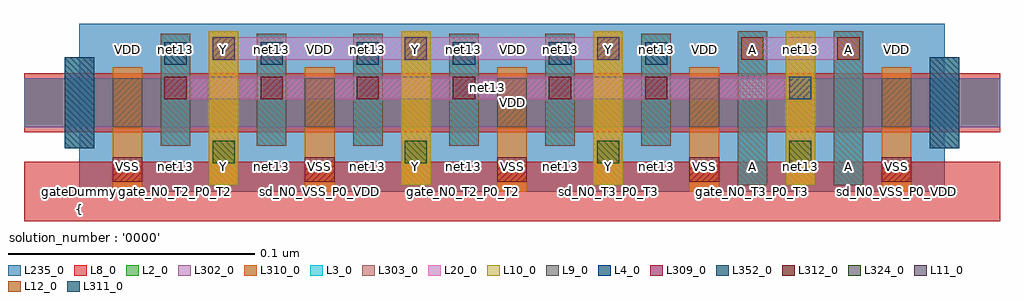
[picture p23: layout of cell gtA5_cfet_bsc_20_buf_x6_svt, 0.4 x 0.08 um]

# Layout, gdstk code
import gdstk
lib = gdstk.Library(unit=1e-6, precision=2.5e-10)
def R(c, l, rs):  # rectangles x0, y0, x1, y1
    for r in rs: c.add(gdstk.rectangle(r[:2], r[2:], *l))
def A(c, l, x, y, w, h, nx, ny, dx, dy):  # array of equal rectangles
    R(c, l, [(x+i*dx, y+j*dy, x+i*dx+w, y+j*dy+h) for i in range(nx) for j in range(ny)])
L2_0 = (2, 0)
L3_0 = (3, 0)
L4_0 = (4, 0)
L8_0 = (8, 0)
L9_0 = (9, 0)
L10_0 = (10, 0)
L11_0 = (11, 0)
L12_0 = (12, 0)
L20_0 = (20, 0)
L235_0 = (235, 0)
L302_0 = (302, 0)
L303_0 = (303, 0)
L309_0 = (309, 0)
L310_0 = (310, 0)
L311_0 = (311, 0)
L312_0 = (312, 0)
L324_0 = (324, 0)
L352_0 = (352, 0)

gta5_cfet_bsc_20_buf_x6_ = lib.new_cell('gtA5_cfet_bsc_20_buf_x6_svt')
R(gta5_cfet_bsc_20_buf_x6_, L2_0, [(-0.0225,0.026,0.3735,0.046)])
A(gta5_cfet_bsc_20_buf_x6_, L3_0, 0.033, 0.0185, 0.012, 0.0455, 6, 1, 0.039, 0)
R(gta5_cfet_bsc_20_buf_x6_, L3_0, [(0.267,0.0025,0.279,0.065), (0.306,0.0025,0.318,0.065), (-0.006,0.0175,0.006,0.0545), (0.345,0.0175,0.357,0.0545)])
R(gta5_cfet_bsc_20_buf_x6_, L4_0, [(-0.006,0.0175,0.006,0.0545), (0.345,0.0175,0.357,0.0545)])
R(gta5_cfet_bsc_20_buf_x6_, L8_0, [(-0.0225,-0.012,0.3735,0.012), (-0.0225,0.024,0.3735,0.048)])
A(gta5_cfet_bsc_20_buf_x6_, L9_0, 0.0135, 0.026, 0.012, 0.02, 5, 1, 0.078, 0)
A(gta5_cfet_bsc_20_buf_x6_, L10_0, 0.0525, 0.0025, 0.012, 0.0625, 4, 1, 0.078, 0)
A(gta5_cfet_bsc_20_buf_x6_, L11_0, 0.054, 0.0535, 0.009, 0.009, 3, 1, 0.078, 0)
R(gta5_cfet_bsc_20_buf_x6_, L12_0, [(0.2685,0.0535,0.2775,0.0625), (0.3075,0.0535,0.3165,0.0625)])
R(gta5_cfet_bsc_20_buf_x6_, L20_0, [(0.0345,0.0375,0.297,0.0465), (0.054,0.0535,0.219,0.0625), (0.2685,0.0535,0.3165,0.0625)])
R(gta5_cfet_bsc_20_buf_x6_, L235_0, [(0,0,0.351,0.068)])
R(gta5_cfet_bsc_20_buf_x6_, L302_0, [(-0.0225,0.026,0.3735,0.046)])
A(gta5_cfet_bsc_20_buf_x6_, L303_0, 0.033, 0.0185, 0.012, 0.0455, 6, 1, 0.039, 0)
R(gta5_cfet_bsc_20_buf_x6_, L303_0, [(0.267,0.0025,0.279,0.065), (0.306,0.0025,0.318,0.065), (-0.006,0.0175,0.006,0.0545), (0.345,0.0175,0.357,0.0545)])
A(gta5_cfet_bsc_20_buf_x6_, L309_0, 0.0135, 0.004, 0.012, 0.01, 5, 1, 0.078, 0)
A(gta5_cfet_bsc_20_buf_x6_, L310_0, 0.0135, 0, 0.012, 0.0505, 5, 1, 0.078, 0)
A(gta5_cfet_bsc_20_buf_x6_, L310_0, 0.0525, 0.0025, 0.012, 0.0625, 4, 1, 0.078, 0)
R(gta5_cfet_bsc_20_buf_x6_, L311_0, [(0.288,0.0375,0.297,0.0465)])
A(gta5_cfet_bsc_20_buf_x6_, L312_0, 0.0345, 0.0375, 0.009, 0.009, 6, 1, 0.039, 0)
A(gta5_cfet_bsc_20_buf_x6_, L324_0, 0.054, 0.0115, 0.009, 0.009, 4, 1, 0.078, 0)
A(gta5_cfet_bsc_20_buf_x6_, L352_0, 0.0345, 0.0515, 0.009, 0.009, 6, 1, 0.039, 0)
gta5_cfet_bsc_20_buf_x6_.add(gdstk.Label('net13', (0.1658,0.042), layer=100, texttype=100))
gta5_cfet_bsc_20_buf_x6_.add(gdstk.Label('gateDummy', (0,0), layer=103, texttype=103))
gta5_cfet_bsc_20_buf_x6_.add(gdstk.Label('sd_N0_VSS_P0_VDD', (0.0195,0), layer=103, texttype=103))
gta5_cfet_bsc_20_buf_x6_.add(gdstk.Label('gate_N0_T2_P0_T2', (0.039,0), layer=103, texttype=103))
gta5_cfet_bsc_20_buf_x6_.add(gdstk.Label('sd_N0_T3_P0_T3', (0.0585,0), layer=103, texttype=103))
gta5_cfet_bsc_20_buf_x6_.add(gdstk.Label('gate_N0_T2_P0_T2', (0.078,0), layer=103, texttype=103))
gta5_cfet_bsc_20_buf_x6_.add(gdstk.Label('sd_N0_VSS_P0_VDD', (0.0975,0), layer=103, texttype=103))
gta5_cfet_bsc_20_buf_x6_.add(gdstk.Label('gate_N0_T2_P0_T2', (0.117,0), layer=103, texttype=103))
gta5_cfet_bsc_20_buf_x6_.add(gdstk.Label('sd_N0_T3_P0_T3', (0.1365,0), layer=103, texttype=103))
gta5_cfet_bsc_20_buf_x6_.add(gdstk.Label('gate_N0_T2_P0_T2', (0.156,0), layer=103, texttype=103))
gta5_cfet_bsc_20_buf_x6_.add(gdstk.Label('sd_N0_VSS_P0_VDD', (0.1755,0), layer=103, texttype=103))
gta5_cfet_bsc_20_buf_x6_.add(gdstk.Label('gate_N0_T2_P0_T2', (0.195,0), layer=103, texttype=103))
gta5_cfet_bsc_20_buf_x6_.add(gdstk.Label('sd_N0_T3_P0_T3', (0.2145,0), layer=103, texttype=103))
gta5_cfet_bsc_20_buf_x6_.add(gdstk.Label('gate_N0_T2_P0_T2', (0.234,0), layer=103, texttype=103))
gta5_cfet_bsc_20_buf_x6_.add(gdstk.Label('sd_N0_VSS_P0_VDD', (0.2535,0), layer=103, texttype=103))
gta5_cfet_bsc_20_buf_x6_.add(gdstk.Label('gate_N0_T3_P0_T3', (0.273,0), layer=103, texttype=103))
gta5_cfet_bsc_20_buf_x6_.add(gdstk.Label('sd_N0_T2_P0_T2', (0.2925,0), layer=103, texttype=103))
gta5_cfet_bsc_20_buf_x6_.add(gdstk.Label('gate_N0_T3_P0_T3', (0.312,0), layer=103, texttype=103))
gta5_cfet_bsc_20_buf_x6_.add(gdstk.Label('sd_N0_VSS_P0_VDD', (0.3315,0), layer=103, texttype=103))
gta5_cfet_bsc_20_buf_x6_.add(gdstk.Label('gateDummy', (0.351,0), layer=103, texttype=103))
gta5_cfet_bsc_20_buf_x6_.add(gdstk.Label('}', (0,-0.0742), layer=104, texttype=104))
gta5_cfet_bsc_20_buf_x6_.add(gdstk.Label('  power : None', (0,-0.0675), layer=104, texttype=104))
gta5_cfet_bsc_20_buf_x6_.add(gdstk.Label('  performance : None', (0,-0.0607), layer=104, texttype=104))
gta5_cfet_bsc_20_buf_x6_.add(gdstk.Label("  solution_hash : '9369646757009642758'", (0,-0.054), layer=104, texttype=104))
gta5_cfet_bsc_20_buf_x6_.add(gdstk.Label('  number_m2 : 0', (0,-0.0473), layer=104, texttype=104))
gta5_cfet_bsc_20_buf_x6_.add(gdstk.Label('  number_m1 : 0', (0,-0.0405), layer=104, texttype=104))
gta5_cfet_bsc_20_buf_x6_.add(gdstk.Label('  number_m0cuts : 0', (0,-0.0338), layer=104, texttype=104))
gta5_cfet_bsc_20_buf_x6_.add(gdstk.Label('  number_m0 : 3', (0,-0.027), layer=104, texttype=104))
gta5_cfet_bsc_20_buf_x6_.add(gdstk.Label("  solution_number : '0000'", (0,-0.0203), layer=104, texttype=104))
gta5_cfet_bsc_20_buf_x6_.add(gdstk.Label("  placement_id : '4436051885917977567'", (0,-0.0135), layer=104, texttype=104))
gta5_cfet_bsc_20_buf_x6_.add(gdstk.Label('{', (0,-0.0067), layer=104, texttype=104))
gta5_cfet_bsc_20_buf_x6_.add(gdstk.Label('VSS', (0.0195,0.0103), layer=105, texttype=105))
gta5_cfet_bsc_20_buf_x6_.add(gdstk.Label('net13', (0.039,0.0103), layer=105, texttype=105))
gta5_cfet_bsc_20_buf_x6_.add(gdstk.Label('Y', (0.0585,0.0103), layer=105, texttype=105))
gta5_cfet_bsc_20_buf_x6_.add(gdstk.Label('net13', (0.078,0.0103), layer=105, texttype=105))
gta5_cfet_bsc_20_buf_x6_.add(gdstk.Label('VSS', (0.0975,0.0103), layer=105, texttype=105))
gta5_cfet_bsc_20_buf_x6_.add(gdstk.Label('net13', (0.117,0.0103), layer=105, texttype=105))
gta5_cfet_bsc_20_buf_x6_.add(gdstk.Label('Y', (0.1365,0.0103), layer=105, texttype=105))
gta5_cfet_bsc_20_buf_x6_.add(gdstk.Label('net13', (0.156,0.0103), layer=105, texttype=105))
gta5_cfet_bsc_20_buf_x6_.add(gdstk.Label('VSS', (0.1755,0.0103), layer=105, texttype=105))
gta5_cfet_bsc_20_buf_x6_.add(gdstk.Label('net13', (0.195,0.0103), layer=105, texttype=105))
gta5_cfet_bsc_20_buf_x6_.add(gdstk.Label('Y', (0.2145,0.0103), layer=105, texttype=105))
gta5_cfet_bsc_20_buf_x6_.add(gdstk.Label('net13', (0.234,0.0103), layer=105, texttype=105))
gta5_cfet_bsc_20_buf_x6_.add(gdstk.Label('VSS', (0.2535,0.0103), layer=105, texttype=105))
gta5_cfet_bsc_20_buf_x6_.add(gdstk.Label('A', (0.273,0.0103), layer=105, texttype=105))
gta5_cfet_bsc_20_buf_x6_.add(gdstk.Label('net13', (0.2925,0.0103), layer=105, texttype=105))
gta5_cfet_bsc_20_buf_x6_.add(gdstk.Label('A', (0.312,0.0103), layer=105, texttype=105))
gta5_cfet_bsc_20_buf_x6_.add(gdstk.Label('VSS', (0.3315,0.0103), layer=105, texttype=105))
gta5_cfet_bsc_20_buf_x6_.add(gdstk.Label('VDD', (0.0195,0.0578), layer=105, texttype=105))
gta5_cfet_bsc_20_buf_x6_.add(gdstk.Label('net13', (0.039,0.0578), layer=105, texttype=105))
gta5_cfet_bsc_20_buf_x6_.add(gdstk.Label('Y', (0.0585,0.0578), layer=105, texttype=105))
gta5_cfet_bsc_20_buf_x6_.add(gdstk.Label('net13', (0.078,0.0578), layer=105, texttype=105))
gta5_cfet_bsc_20_buf_x6_.add(gdstk.Label('VDD', (0.0975,0.0578), layer=105, texttype=105))
gta5_cfet_bsc_20_buf_x6_.add(gdstk.Label('net13', (0.117,0.0578), layer=105, texttype=105))
gta5_cfet_bsc_20_buf_x6_.add(gdstk.Label('Y', (0.1365,0.0578), layer=105, texttype=105))
gta5_cfet_bsc_20_buf_x6_.add(gdstk.Label('net13', (0.156,0.0578), layer=105, texttype=105))
gta5_cfet_bsc_20_buf_x6_.add(gdstk.Label('VDD', (0.1755,0.0578), layer=105, texttype=105))
gta5_cfet_bsc_20_buf_x6_.add(gdstk.Label('net13', (0.195,0.0578), layer=105, texttype=105))
gta5_cfet_bsc_20_buf_x6_.add(gdstk.Label('Y', (0.2145,0.0578), layer=105, texttype=105))
gta5_cfet_bsc_20_buf_x6_.add(gdstk.Label('net13', (0.234,0.0578), layer=105, texttype=105))
gta5_cfet_bsc_20_buf_x6_.add(gdstk.Label('VDD', (0.2535,0.0578), layer=105, texttype=105))
gta5_cfet_bsc_20_buf_x6_.add(gdstk.Label('A', (0.273,0.0578), layer=105, texttype=105))
gta5_cfet_bsc_20_buf_x6_.add(gdstk.Label('net13', (0.2925,0.0578), layer=105, texttype=105))
gta5_cfet_bsc_20_buf_x6_.add(gdstk.Label('A', (0.312,0.0578), layer=105, texttype=105))
gta5_cfet_bsc_20_buf_x6_.add(gdstk.Label('VDD', (0.3315,0.0578), layer=105, texttype=105))
gta5_cfet_bsc_20_buf_x6_.add(gdstk.Label('VSS', (0.1755,0), layer=8, texttype=0))
gta5_cfet_bsc_20_buf_x6_.add(gdstk.Label('VDD', (0.1755,0.036), layer=8, texttype=0))
gta5_cfet_bsc_20_buf_x6_.add(gdstk.Label('Y', (0.1365,0.058), layer=20, texttype=251))
gta5_cfet_bsc_20_buf_x6_.add(gdstk.Label('A', (0.2925,0.058), layer=20, texttype=251))
gta5_cfet_bsc_20_buf_x6_.add(gdstk.Label('gtA5_cfet_bsc_20nm_buf_x6_rvt_0', (0,0), layer=235, texttype=0))

lib.write_gds('gtA5_cfet_bsc_20_buf_x6_svt.gds')
